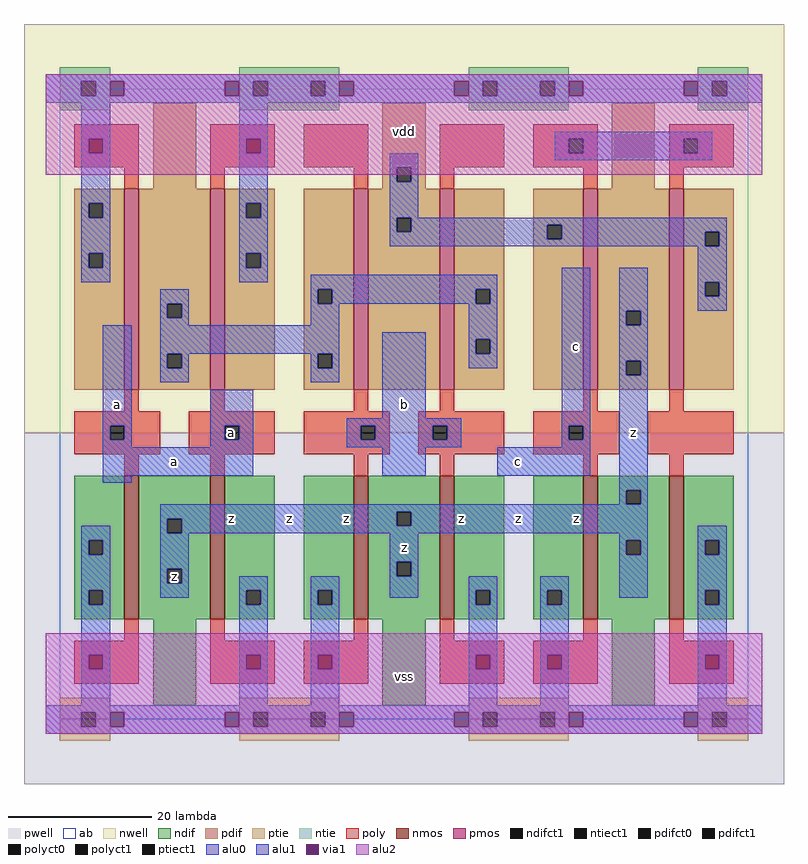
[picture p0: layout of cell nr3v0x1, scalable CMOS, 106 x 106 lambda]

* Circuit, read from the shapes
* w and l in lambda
.subckt nr3v0x1 a b c vdd vss z
M1 z a vss vss nfet w=20 l=2 m=2
M2 z b vss vss nfet w=20 l=2 m=2
M3 z c vss vss nfet w=20 l=2 m=2
M4 n1 a vdd vdd pfet w=28 l=2 m=2
M5 n2 b n1 vdd pfet w=28 l=2 m=2
M6 z c n2 vdd pfet w=28 l=2 m=2
.ends

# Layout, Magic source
magic
tech scmos
<< ab >>
rect 0 0 96 88
<< nwell >>
rect -5 40 101 97
<< pwell >>
rect -5 -9 101 40
<< poly >>
rect 2 77 11 83
rect 9 74 11 77
rect 21 77 30 83
rect 34 77 43 83
rect 21 74 23 77
rect 41 74 43 77
rect 53 77 62 83
rect 66 81 75 83
rect 66 79 71 81
rect 73 79 75 81
rect 66 77 75 79
rect 53 74 55 77
rect 73 74 75 77
rect 85 81 94 83
rect 85 79 87 81
rect 89 79 94 81
rect 85 77 94 79
rect 85 74 87 77
rect 9 43 11 46
rect 21 43 23 46
rect 41 43 43 46
rect 53 43 55 46
rect 73 43 75 46
rect 85 43 87 46
rect 2 41 14 43
rect 2 39 7 41
rect 9 39 14 41
rect 2 37 14 39
rect 18 41 30 43
rect 18 39 23 41
rect 25 39 30 41
rect 18 37 30 39
rect 34 41 46 43
rect 34 39 42 41
rect 44 39 46 41
rect 34 37 46 39
rect 50 41 62 43
rect 50 39 52 41
rect 54 39 62 41
rect 50 37 62 39
rect 66 41 78 43
rect 66 39 71 41
rect 73 39 78 41
rect 66 37 78 39
rect 82 37 94 43
rect 9 34 11 37
rect 21 34 23 37
rect 41 34 43 37
rect 53 34 55 37
rect 73 34 75 37
rect 85 34 87 37
rect 9 11 11 14
rect 2 5 11 11
rect 21 11 23 14
rect 41 11 43 14
rect 21 5 30 11
rect 34 5 43 11
rect 53 11 55 14
rect 73 11 75 14
rect 53 5 62 11
rect 66 5 75 11
rect 85 11 87 14
rect 85 5 94 11
<< ndif >>
rect 2 25 9 34
rect 2 23 4 25
rect 6 23 9 25
rect 2 18 9 23
rect 2 16 4 18
rect 6 16 9 18
rect 2 14 9 16
rect 11 28 21 34
rect 11 26 15 28
rect 17 26 21 28
rect 11 21 21 26
rect 11 19 15 21
rect 17 19 21 21
rect 11 14 21 19
rect 23 18 30 34
rect 23 16 26 18
rect 28 16 30 18
rect 23 14 30 16
rect 34 18 41 34
rect 34 16 36 18
rect 38 16 41 18
rect 34 14 41 16
rect 43 29 53 34
rect 43 27 47 29
rect 49 27 53 29
rect 43 22 53 27
rect 43 20 47 22
rect 49 20 53 22
rect 43 14 53 20
rect 55 18 62 34
rect 55 16 58 18
rect 60 16 62 18
rect 55 14 62 16
rect 66 18 73 34
rect 66 16 68 18
rect 70 16 73 18
rect 66 14 73 16
rect 75 32 85 34
rect 75 30 79 32
rect 81 30 85 32
rect 75 25 85 30
rect 75 23 79 25
rect 81 23 85 25
rect 75 14 85 23
rect 87 25 94 34
rect 87 23 90 25
rect 92 23 94 25
rect 87 18 94 23
rect 87 16 90 18
rect 92 16 94 18
rect 87 14 94 16
rect 13 2 19 14
rect 45 2 51 14
rect 77 2 83 14
<< pdif >>
rect 13 74 19 86
rect 45 77 51 86
rect 45 75 47 77
rect 49 75 51 77
rect 45 74 51 75
rect 77 74 83 86
rect 2 72 9 74
rect 2 70 4 72
rect 6 70 9 72
rect 2 65 9 70
rect 2 63 4 65
rect 6 63 9 65
rect 2 46 9 63
rect 11 58 21 74
rect 11 56 15 58
rect 17 56 21 58
rect 11 51 21 56
rect 11 49 15 51
rect 17 49 21 51
rect 11 46 21 49
rect 23 72 30 74
rect 23 70 26 72
rect 28 70 30 72
rect 23 65 30 70
rect 23 63 26 65
rect 28 63 30 65
rect 23 46 30 63
rect 34 60 41 74
rect 34 58 36 60
rect 38 58 41 60
rect 34 51 41 58
rect 34 49 36 51
rect 38 49 41 51
rect 34 46 41 49
rect 43 70 53 74
rect 43 68 47 70
rect 49 68 53 70
rect 43 46 53 68
rect 55 60 62 74
rect 55 58 58 60
rect 60 58 62 60
rect 55 53 62 58
rect 55 51 58 53
rect 60 51 62 53
rect 55 46 62 51
rect 66 69 73 74
rect 66 67 68 69
rect 70 67 73 69
rect 66 46 73 67
rect 75 57 85 74
rect 75 55 79 57
rect 81 55 85 57
rect 75 50 85 55
rect 75 48 79 50
rect 81 48 85 50
rect 75 46 85 48
rect 87 68 94 74
rect 87 66 90 68
rect 92 66 94 68
rect 87 61 94 66
rect 87 59 90 61
rect 92 59 94 61
rect 87 46 94 59
<< alu1 >>
rect -2 89 98 90
rect -2 87 3 89
rect 5 87 7 89
rect 9 87 23 89
rect 25 87 27 89
rect 29 87 35 89
rect 37 87 39 89
rect 41 87 55 89
rect 57 87 59 89
rect 61 87 67 89
rect 69 87 71 89
rect 73 87 87 89
rect 89 87 91 89
rect 93 87 98 89
rect -2 86 98 87
rect 3 81 7 86
rect 3 79 4 81
rect 6 79 7 81
rect 3 72 7 79
rect 3 70 4 72
rect 6 70 7 72
rect 3 65 7 70
rect 3 63 4 65
rect 6 63 7 65
rect 3 61 7 63
rect 25 81 29 86
rect 25 79 26 81
rect 28 79 29 81
rect 25 72 29 79
rect 25 70 26 72
rect 28 70 29 72
rect 25 65 29 70
rect 25 63 26 65
rect 28 63 29 65
rect 25 61 29 63
rect 6 41 10 55
rect 6 39 7 41
rect 9 39 10 41
rect 6 38 10 39
rect 21 41 27 46
rect 45 42 51 54
rect 21 39 23 41
rect 25 39 27 41
rect 21 38 27 39
rect 40 41 56 42
rect 40 39 42 41
rect 44 39 52 41
rect 54 39 56 41
rect 40 38 56 39
rect 70 41 74 63
rect 70 39 71 41
rect 73 39 74 41
rect 70 38 74 39
rect 6 34 27 38
rect 45 34 51 38
rect 61 34 74 38
rect 78 57 82 63
rect 78 55 79 57
rect 81 55 82 57
rect 78 50 82 55
rect 78 48 79 50
rect 81 48 82 50
rect 6 33 10 34
rect 78 32 82 48
rect 78 30 79 32
rect 81 30 82 32
rect 14 29 82 30
rect 14 28 47 29
rect 3 25 7 27
rect 3 23 4 25
rect 6 23 7 25
rect 3 18 7 23
rect 3 16 4 18
rect 6 16 7 18
rect 14 26 15 28
rect 17 27 47 28
rect 49 27 82 29
rect 17 26 82 27
rect 14 21 18 26
rect 14 19 15 21
rect 17 19 18 21
rect 46 22 50 26
rect 46 20 47 22
rect 49 20 50 22
rect 78 25 82 26
rect 78 23 79 25
rect 81 23 82 25
rect 14 17 18 19
rect 25 18 29 20
rect 3 9 7 16
rect 3 7 4 9
rect 6 7 7 9
rect 3 2 7 7
rect 25 16 26 18
rect 28 16 29 18
rect 25 9 29 16
rect 25 7 26 9
rect 28 7 29 9
rect 25 2 29 7
rect 35 18 39 20
rect 35 16 36 18
rect 38 16 39 18
rect 46 17 50 20
rect 57 18 61 20
rect 35 9 39 16
rect 35 7 36 9
rect 38 7 39 9
rect 35 2 39 7
rect 57 16 58 18
rect 60 16 61 18
rect 57 9 61 16
rect 57 7 58 9
rect 60 7 61 9
rect 57 2 61 7
rect 67 18 71 20
rect 67 16 68 18
rect 70 16 71 18
rect 78 17 82 23
rect 89 25 93 27
rect 89 23 90 25
rect 92 23 93 25
rect 89 18 93 23
rect 67 9 71 16
rect 67 7 68 9
rect 70 7 71 9
rect 67 2 71 7
rect 89 16 90 18
rect 92 16 93 18
rect 89 9 93 16
rect 89 7 90 9
rect 92 7 93 9
rect 89 2 93 7
rect -2 1 98 2
rect -2 -1 3 1
rect 5 -1 7 1
rect 9 -1 23 1
rect 25 -1 27 1
rect 29 -1 35 1
rect 37 -1 39 1
rect 41 -1 55 1
rect 57 -1 59 1
rect 61 -1 67 1
rect 69 -1 71 1
rect 73 -1 87 1
rect 89 -1 91 1
rect 93 -1 98 1
rect -2 -2 98 -1
<< alu2 >>
rect -2 89 98 90
rect -2 87 7 89
rect 9 87 23 89
rect 25 87 39 89
rect 41 87 55 89
rect 57 87 71 89
rect 73 87 87 89
rect 89 87 98 89
rect -2 81 98 87
rect -2 79 4 81
rect 6 79 26 81
rect 28 79 98 81
rect -2 76 98 79
rect -2 9 98 12
rect -2 7 4 9
rect 6 7 26 9
rect 28 7 36 9
rect 38 7 58 9
rect 60 7 68 9
rect 70 7 90 9
rect 92 7 98 9
rect -2 1 98 7
rect -2 -1 7 1
rect 9 -1 23 1
rect 25 -1 39 1
rect 41 -1 55 1
rect 57 -1 71 1
rect 73 -1 87 1
rect 89 -1 98 1
rect -2 -2 98 -1
<< ptie >>
rect 0 1 7 3
rect 0 -1 3 1
rect 5 -1 7 1
rect 0 -3 7 -1
rect 25 1 39 3
rect 25 -1 27 1
rect 29 -1 35 1
rect 37 -1 39 1
rect 25 -3 39 -1
rect 57 1 71 3
rect 57 -1 59 1
rect 61 -1 67 1
rect 69 -1 71 1
rect 57 -3 71 -1
rect 89 1 96 3
rect 89 -1 91 1
rect 93 -1 96 1
rect 89 -3 96 -1
<< ntie >>
rect 0 89 7 91
rect 0 87 3 89
rect 5 87 7 89
rect 0 85 7 87
rect 25 89 39 91
rect 25 87 27 89
rect 29 87 35 89
rect 37 87 39 89
rect 25 85 39 87
rect 57 89 71 91
rect 57 87 59 89
rect 61 87 67 89
rect 69 87 71 89
rect 57 85 71 87
rect 89 89 96 91
rect 89 87 91 89
rect 93 87 96 89
rect 89 85 96 87
<< nmos >>
rect 9 14 11 34
rect 21 14 23 34
rect 41 14 43 34
rect 53 14 55 34
rect 73 14 75 34
rect 85 14 87 34
<< pmos >>
rect 9 46 11 74
rect 21 46 23 74
rect 41 46 43 74
rect 53 46 55 74
rect 73 46 75 74
rect 85 46 87 74
<< polyct0 >>
rect 71 79 73 81
rect 87 79 89 81
<< polyct1 >>
rect 7 39 9 41
rect 23 39 25 41
rect 42 39 44 41
rect 52 39 54 41
rect 71 39 73 41
<< ndifct1 >>
rect 4 23 6 25
rect 4 16 6 18
rect 15 26 17 28
rect 15 19 17 21
rect 26 16 28 18
rect 36 16 38 18
rect 47 27 49 29
rect 47 20 49 22
rect 58 16 60 18
rect 68 16 70 18
rect 79 30 81 32
rect 79 23 81 25
rect 90 23 92 25
rect 90 16 92 18
<< ntiect1 >>
rect 3 87 5 89
rect 27 87 29 89
rect 35 87 37 89
rect 59 87 61 89
rect 67 87 69 89
rect 91 87 93 89
<< ptiect1 >>
rect 3 -1 5 1
rect 27 -1 29 1
rect 35 -1 37 1
rect 59 -1 61 1
rect 67 -1 69 1
rect 91 -1 93 1
<< pdifct0 >>
rect 47 75 49 77
rect 15 56 17 58
rect 15 49 17 51
rect 36 58 38 60
rect 36 49 38 51
rect 47 68 49 70
rect 58 58 60 60
rect 58 51 60 53
rect 68 67 70 69
rect 90 66 92 68
rect 90 59 92 61
<< pdifct1 >>
rect 4 70 6 72
rect 4 63 6 65
rect 26 70 28 72
rect 26 63 28 65
rect 79 55 81 57
rect 79 48 81 50
<< alu0 >>
rect 69 81 91 82
rect 69 79 71 81
rect 73 79 87 81
rect 89 79 91 81
rect 46 77 50 79
rect 69 78 91 79
rect 46 75 47 77
rect 49 75 50 77
rect 46 70 50 75
rect 46 68 47 70
rect 49 69 93 70
rect 49 68 68 69
rect 46 67 68 68
rect 70 68 93 69
rect 70 67 90 68
rect 46 66 90 67
rect 92 66 93 68
rect 35 60 61 62
rect 14 58 18 60
rect 14 56 15 58
rect 17 56 18 58
rect 14 55 18 56
rect 35 58 36 60
rect 38 58 58 60
rect 60 58 61 60
rect 35 55 39 58
rect 14 51 39 55
rect 14 49 15 51
rect 17 49 18 51
rect 14 47 18 49
rect 35 49 36 51
rect 38 49 39 51
rect 35 47 39 49
rect 57 53 61 58
rect 57 51 58 53
rect 60 51 61 53
rect 57 49 61 51
rect 89 61 93 66
rect 89 59 90 61
rect 92 59 93 61
rect 89 57 93 59
<< via1 >>
rect 7 87 9 89
rect 23 87 25 89
rect 39 87 41 89
rect 55 87 57 89
rect 71 87 73 89
rect 87 87 89 89
rect 4 79 6 81
rect 26 79 28 81
rect 4 7 6 9
rect 26 7 28 9
rect 36 7 38 9
rect 58 7 60 9
rect 68 7 70 9
rect 90 7 92 9
rect 7 -1 9 1
rect 23 -1 25 1
rect 39 -1 41 1
rect 55 -1 57 1
rect 71 -1 73 1
rect 87 -1 89 1
<< labels >>
rlabel ndifct1 16 20 16 20 6 z
rlabel alu1 16 36 16 36 6 a
rlabel alu1 8 44 8 44 6 a
rlabel alu1 24 28 24 28 6 z
rlabel polyct1 24 40 24 40 6 a
rlabel alu1 40 28 40 28 6 z
rlabel alu1 32 28 32 28 6 z
rlabel alu1 48 24 48 24 6 z
rlabel alu1 64 36 64 36 6 c
rlabel alu1 64 28 64 28 6 z
rlabel alu1 56 28 56 28 6 z
rlabel alu1 48 44 48 44 6 b
rlabel alu1 72 28 72 28 6 z
rlabel alu1 80 40 80 40 6 z
rlabel alu1 72 52 72 52 6 c
rlabel alu2 48 6 48 6 6 vss
rlabel alu2 48 82 48 82 6 vdd
<< end >>
